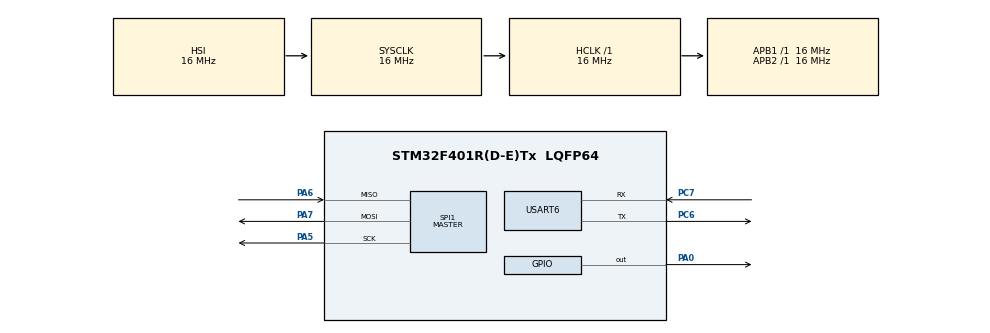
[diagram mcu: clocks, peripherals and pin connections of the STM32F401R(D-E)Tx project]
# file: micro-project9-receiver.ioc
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Mcu.Family=STM32F4
Mcu.Name=STM32F401R(D-E)Tx
Mcu.Package=LQFP64
NVIC.PriorityGroup=NVIC_PRIORITYGROUP_4
NVIC.USART6_IRQn=true\:0\:0\:false\:false\:true\:true\:true\:true
PA0-WKUP.GPIO_PuPd=GPIO_PULLUP
PA0-WKUP.Signal=GPIO_Output
PA5.Mode=Full_Duplex_Master
PA5.Signal=SPI1_SCK
PA6.Mode=Full_Duplex_Master
PA6.Signal=SPI1_MISO
PA7.Mode=Full_Duplex_Master
PA7.Signal=SPI1_MOSI
PC6.Mode=Asynchronous
PC6.Signal=USART6_TX
PC7.Mode=Asynchronous
PC7.Signal=USART6_RX
ProjectManager.HeapSize=0x200
ProjectManager.StackSize=0x400
ProjectManager.TargetToolchain=MDK-ARM V5
RCC.AHBFreq_Value=16000000
RCC.APB1Freq_Value=16000000
RCC.APB2Freq_Value=16000000
RCC.CortexFreq_Value=16000000
RCC.HSE_VALUE=25000000
RCC.HSI_VALUE=16000000
RCC.LSE_VALUE=32768
RCC.SYSCLKFreq_VALUE=16000000
RCC.VCOOutputFreq_Value=192000000
SPI1.BaudRatePrescaler=SPI_BAUDRATEPRESCALER_16
SPI1.Direction=SPI_DIRECTION_2LINES
SPI1.Mode=SPI_MODE_MASTER
SPI1.VirtualType=VM_MASTER
USART6.VirtualMode=VM_ASYNC
board=custom

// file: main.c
/* USER CODE BEGIN Header */
/**
  ******************************************************************************
  * @file           : main.c
  * @brief          : Main program body
  ******************************************************************************
  * @attention
  *
  * Copyright (c) 2022 STMicroelectronics.
  * All rights reserved.
  *
  * This software is licensed under terms that can be found in the LICENSE file
  * in the root directory of this software component.
  * If no LICENSE file comes with this software, it is provided AS-IS.
  *
  ******************************************************************************
  */
/* USER CODE END Header */
#include "main.h"
#include "spi.h"
#include "usart.h"
#include "gpio.h"

/* USER CODE BEGIN Includes */
#include <string.h>
#include <stdio.h>
/* USER CODE END Includes */

/* USER CODE BEGIN PV */
char buffer[2] = { '0' , '0' };

/* USER CODE END PV */

void SystemClock_Config(void);

/* USER CODE BEGIN 0 */
void sendString(char* string){
	HAL_UART_Transmit(&huart6, (uint8_t *) string, strlen(string), HAL_MAX_DELAY);
}
void HAL_UART_RxCpltCallback(UART_HandleTypeDef *huart){
	if( huart->Instance == USART6 ){
		sendString(buffer);
		HAL_UART_Receive_IT(&huart6, (uint8_t*) buffer, 2);
	}
}

void putData(uint8_t* cmdAndData){
		HAL_GPIO_WritePin(GPIOA, GPIO_PIN_0, GPIO_PIN_RESET); // reset cs (chip/slave select)
		HAL_SPI_Transmit(&hspi1, cmdAndData, 2, HAL_MAX_DELAY); // send command & data
		HAL_GPIO_WritePin(GPIOA, GPIO_PIN_0, GPIO_PIN_SET); // set CS
}
void spi_init(){
	uint8_t turnOn[2] = { 0xC, 0x1 };
	uint8_t setIntensity[2] = { 0xA, 0xF };
	uint8_t setDigits[2] = { 0xB, 0x1 };
	uint8_t setDecoding[2] = { 0x9, 0xFF };
	putData( turnOn );
	putData( setIntensity );
	putData( setDigits );
	putData( setDecoding );
}

void set_7seg(){
	uint8_t digit0[2] = { 0x1, buffer[0] };
	uint8_t digit1[2] = { 0x2, buffer[1] };
	putData( digit0 );
	putData( digit1 );
}
/* USER CODE END 0 */

int main(void)
{

  /* MCU Configuration--------------------------------------------------------*/

  /* Reset of all peripherals, Initializes the Flash interface and the Systick. */
  HAL_Init();

  /* Configure the system clock */
  SystemClock_Config();

  /* Initialize all configured peripherals */
  MX_GPIO_Init();
  MX_SPI1_Init();
  MX_USART6_UART_Init();
  /* USER CODE BEGIN 2 */
	NVIC_EnableIRQ(USART6_IRQn);
	spi_init();
	HAL_UART_Receive_IT(&huart6, (uint8_t*) buffer, 2);

  /* USER CODE END 2 */

  /* Infinite loop */
  while (1)
  {

    /* USER CODE BEGIN 3 */
		set_7seg();
		HAL_Delay(100);
  }
  /* USER CODE END 3 */
}

void SystemClock_Config(void)
{
  RCC_OscInitTypeDef RCC_OscInitStruct = {0};
  RCC_ClkInitTypeDef RCC_ClkInitStruct = {0};

  /** Configure the main internal regulator output voltage
  */
  __HAL_RCC_PWR_CLK_ENABLE();
  __HAL_PWR_VOLTAGESCALING_CONFIG(PWR_REGULATOR_VOLTAGE_SCALE2);
  /** Initializes the RCC Oscillators according to the specified parameters
  * in the RCC_OscInitTypeDef structure.
  */
  RCC_OscInitStruct.OscillatorType = RCC_OSCILLATORTYPE_HSI;
  RCC_OscInitStruct.HSIState = RCC_HSI_ON;
  RCC_OscInitStruct.HSICalibrationValue = RCC_HSICALIBRATION_DEFAULT;
  RCC_OscInitStruct.PLL.PLLState = RCC_PLL_NONE;
  if (HAL_RCC_OscConfig(&RCC_OscInitStruct) != HAL_OK)
  {
    Error_Handler();
  }
  /** Initializes the CPU, AHB and APB buses clocks
  */
  RCC_ClkInitStruct.ClockType = RCC_CLOCKTYPE_HCLK|RCC_CLOCKTYPE_SYSCLK
                              |RCC_CLOCKTYPE_PCLK1|RCC_CLOCKTYPE_PCLK2;
  RCC_ClkInitStruct.SYSCLKSource = RCC_SYSCLKSOURCE_HSI;
  RCC_ClkInitStruct.AHBCLKDivider = RCC_SYSCLK_DIV1;
  RCC_ClkInitStruct.APB1CLKDivider = RCC_HCLK_DIV1;
  RCC_ClkInitStruct.APB2CLKDivider = RCC_HCLK_DIV1;

  if (HAL_RCC_ClockConfig(&RCC_ClkInitStruct, FLASH_LATENCY_0) != HAL_OK)
  {
    Error_Handler();
  }
}

void Error_Handler(void)
{
  __disable_irq();
  while (1)
  {
  }
}
